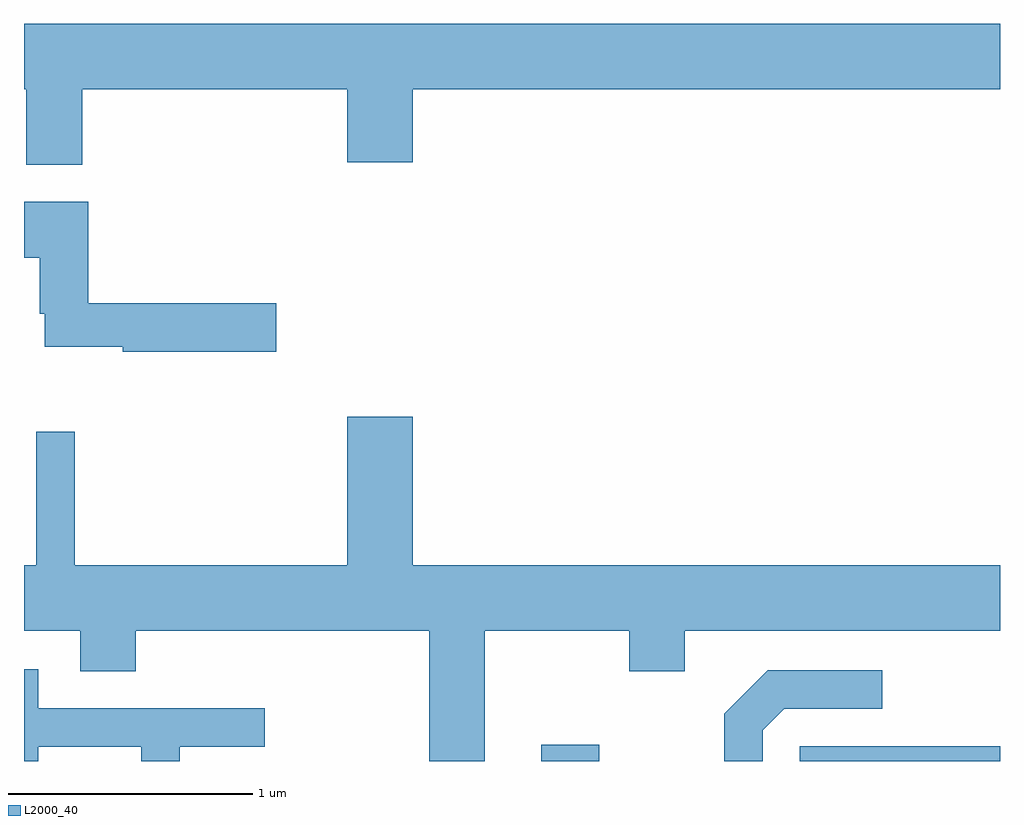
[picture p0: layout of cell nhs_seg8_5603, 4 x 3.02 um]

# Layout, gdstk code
import gdstk
lib = gdstk.Library(unit=1e-6, precision=1e-09)
def R(c, l, rs):  # rectangles x0, y0, x1, y1
    for r in rs: c.add(gdstk.rectangle(r[:2], r[2:], *l))
def P(c, l, *ps):  # polygons
    for p in ps: c.add(gdstk.Polygon(p, *l))
L2000_40 = (2000, 40)

nhs_seg8_5603 = lib.new_cell('nhs_seg8_5603')
R(nhs_seg8_5603, L2000_40, [(355.731,1820.342,355.968,1820.409), (356.791,1820.342,357.611,1820.404)])
P(nhs_seg8_5603, L2000_40, [(353.849,1823.096),(354.936,1823.096),(354.936,1822.796),(355.204,1822.796),(355.204,1823.096),(357.611,1823.096),(357.611,1823.364),(353.611,1823.364),(353.611,1823.096),(353.621,1823.096),(353.621,1822.786),(353.849,1822.786)],
  [(354.644,1822.219),(353.874,1822.219),(353.874,1822.634),(353.611,1822.634),(353.611,1822.406),(353.676,1822.406),(353.676,1822.176),(353.696,1822.176),(353.696,1822.041),(354.016,1822.041),(354.016,1822.021),(354.644,1822.021)],
  [(355.499,1820.876),(356.091,1820.876),(356.091,1820.711),(356.319,1820.711),(356.319,1820.876),(357.611,1820.876),(357.611,1821.144),(355.204,1821.144),(355.204,1821.754),(354.936,1821.754),(354.936,1821.144),(353.819,1821.144),(353.819,1821.693),(353.661,1821.693),(353.661,1821.144),(353.611,1821.144),(353.611,1820.876),(353.841,1820.876),(353.841,1820.711),(354.069,1820.711),(354.069,1820.876),(355.271,1820.876),(355.271,1820.342),(355.499,1820.342)],
  [(353.669,1820.401),(354.091,1820.401),(354.091,1820.342),(354.249,1820.342),(354.249,1820.401),(354.598,1820.401),(354.598,1820.559),(353.669,1820.559),(353.669,1820.719),(353.611,1820.719),(353.611,1820.342),(353.669,1820.342)],
  [(356.639,1820.469),(356.727,1820.556),(357.128,1820.556),(357.128,1820.714),(356.659,1820.714),(356.481,1820.537),(356.481,1820.342),(356.639,1820.342)])

lib.write_gds('nhs_seg8_5603.gds')
